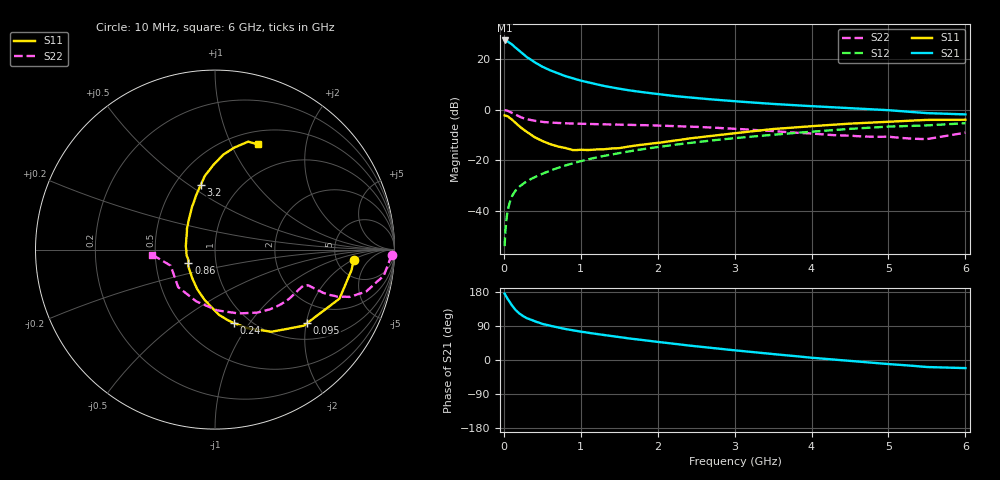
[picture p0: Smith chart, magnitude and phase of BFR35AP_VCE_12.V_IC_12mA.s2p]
! Infineon Technologies  Discrete & RF Semiconductors
! BFR35AP
! VCE =  12. V,  IC =  12 mA
! Common Emitter S-Parameters:  Nov 2015
# GHz  S  MA  R  50
!  f  S11  S21  S12  S22
! GHz  MAG  ANG  MAG  ANG  MAG  ANG  MAG  ANG
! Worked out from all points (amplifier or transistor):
!   210 points, 10 MHz to 6 GHz, reference 50 ohm
!   highest |S21| = 27.4 dB at 10 MHz (marker M1)
!   |S21| within 3 dB of that: start of sweep to 158.3 MHz
!   unconditionally stable (mu >= 1): 604.9 MHz to 2.69 GHz
!   at 185 MHz: K = 0.56, MSG = 27.3 dB, |S12| = -30.9 dB
!   at 1.52 GHz: K = 1.09, MAG = 10.9 dB, |S12| = -17.0 dB
!   at 6 GHz: K = 0.87, MSG = 1.7 dB, |S12| = -5.3 dB
!   S11 on the Smith chart (normalised r, x): 10 MHz: 7.22, -2.14; 95 MHz: 1.41, -2.03; 240 MHz: 0.85, -0.84; 860 MHz: 0.74, -0.11; 3.2 GHz: 0.67, +0.56; 6 GHz: 0.65, +1.28
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0.01  0.7745 -4.4  23.45 175.2  0.002 86.0  0.9851 -1.7
0.03  0.7569 -12.8  22.7 168.1  0.006 78.5  0.9663 -5.3
0.05  0.7453 -21.5  22.41 161.0  0.0101 77.6  0.9511 -8.8
0.095  0.6572 -38.5  20.11 147.0  0.0178 71.7  0.8811 -14.8
0.1  0.6515 -40.6  19.93 145.3  0.0187 71.3  0.874 -15.5
0.15  0.5554 -55.5  17.02 132.2  0.025 66.6  0.7967 -19.3
0.2  0.4736 -67.6  14.65 122.9  0.0299 65.4  0.732 -21.0
0.24  0.4217 -75.8  12.97 117.3  0.0333 64.3  0.6928 -21.5
0.26  0.4003 -79.6  12.24 114.7  0.0351 64.0  0.6762 -21.6
0.3  0.3637 -86.6  10.96 110.3  0.0385 63.8  0.6492 -21.8
0.4  0.2865 -101.6  8.695 102.1  0.0463 64.6  0.6027 -21.4
0.5  0.241 -114.4  7.1 95.3  0.0539 65.6  0.574 -21.1
0.7  0.188 -137.1  5.251 85.8  0.0706 66.8  0.5473 -21.3
0.86  0.165 -153.7  4.335 79.7  0.0842 67.0  0.5345 -22.1
1.02  0.1608 -170.8  3.705 74.2  0.0976 67.2  0.5264 -23.3
1.4  0.1711 159.6  2.766 63.2  0.1298 65.7  0.5115 -27.7
2.02  0.2228 130.7  2.016 47.3  0.1842 61.4  0.4856 -36.7
3.1  0.3557 104.0  1.436 23.6  0.283 51.3  0.412 -58.7
3.2  0.3701 102.3  1.4 21.7  0.292 50.1  0.4023 -61.3
4.1  0.4838 89.7  1.153 4.4  0.3774 40.2  0.3288 -91.9
5.1  0.5874 78.0  0.953 -12.1  0.4683 26.5  0.2827 -139.1
6  0.6335 67.6  0.808 -21.4  0.5415 15.8  0.3516 -175.5
